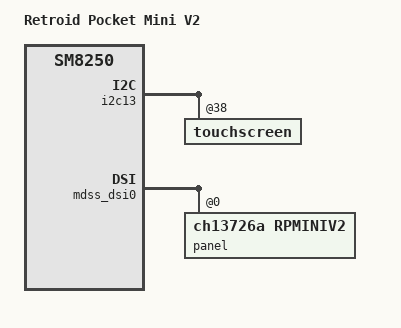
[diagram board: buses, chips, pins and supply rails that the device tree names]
// SPDX-License-Identifier: GPL-2.0
/*
 * Copyright (c) 2025, ROCKNIX <https://rocknix.org>.
 */

/dts-v1/;

#include "sm8250-retroidpocket-rpmini.dts"

/ {
	model = "Retroid Pocket Mini V2";
	compatible = "retroidpocket,rpminiv2", "qcom,sm8250";
};

&i2c13 {
	touchscreen@38 {
		touchscreen-size-x = <1080>;
		touchscreen-size-y = <1240>;
	};
};

&mdss_dsi0 {
	panel@0 {
		compatible = "ch13726a,rpminiv2";
	};
};
